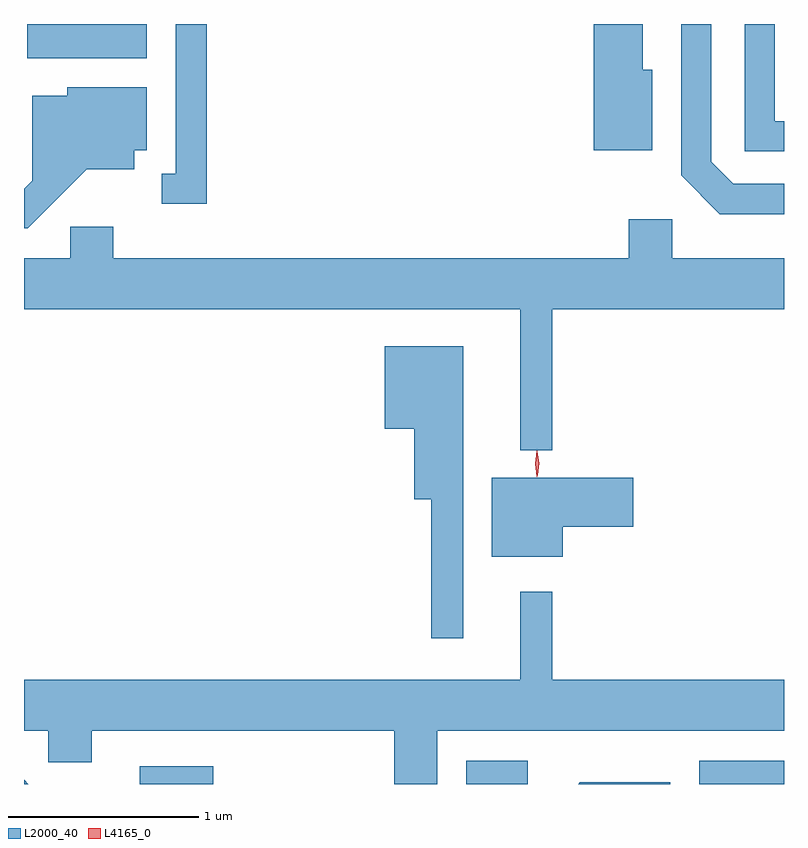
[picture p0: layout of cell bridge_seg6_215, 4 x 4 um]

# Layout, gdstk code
import gdstk
lib = gdstk.Library(unit=1e-6, precision=1e-09)
def R(c, l, rs):  # rectangles x0, y0, x1, y1
    for r in rs: c.add(gdstk.rectangle(r[:2], r[2:], *l))
def P(c, l, *ps):  # polygons
    for p in ps: c.add(gdstk.Polygon(p, *l))
L2000_40 = (2000, 40)
L4165_0 = (4165, 0)

bridge_seg6_215 = lib.new_cell('bridge_seg6_215')
R(bridge_seg6_215, L2000_40, [(1067.228,1543.096,1067.614,1543.189), (1068.946,1543.096,1069.268,1543.219), (1070.171,1543.096,1070.618,1543.219), (1066.636,1546.916,1067.264,1547.096)])
P(bridge_seg6_215, L2000_40, [(1069.924,1546.854),(1069.874,1546.854),(1069.874,1547.096),(1069.616,1547.096),(1069.616,1546.431),(1069.924,1546.431)],
  [(1070.618,1546.584),(1070.569,1546.584),(1070.569,1547.096),(1070.411,1547.096),(1070.411,1546.426),(1070.618,1546.426)],
  [(1067.579,1547.096),(1067.416,1547.096),(1067.416,1546.309),(1067.343,1546.309),(1067.343,1546.151),(1067.579,1546.151)],
  [(1070.618,1546.254),(1070.352,1546.254),(1070.234,1546.372),(1070.234,1547.096),(1070.076,1547.096),(1070.076,1546.299),(1070.279,1546.096),(1070.618,1546.096)],
  [(1066.947,1546.331),(1067.199,1546.331),(1067.199,1546.431),(1067.264,1546.431),(1067.264,1546.764),(1066.846,1546.764),(1066.846,1546.719),(1066.661,1546.719),(1066.661,1546.272),(1066.618,1546.229),(1066.618,1546.021),(1066.637,1546.021)],
  [(1069.399,1545.596),(1070.618,1545.596),(1070.618,1545.864),(1070.029,1545.864),(1070.029,1546.069),(1069.801,1546.069),(1069.801,1545.864),(1067.089,1545.864),(1067.089,1546.029),(1066.861,1546.029),(1066.861,1545.864),(1066.618,1545.864),(1066.618,1545.596),(1069.231,1545.596),(1069.231,1544.853),(1069.399,1544.853)],
  [(1068.929,1545.399),(1068.516,1545.399),(1068.516,1544.966),(1068.671,1544.966),(1068.671,1544.596),(1068.761,1544.596),(1068.761,1543.863),(1068.929,1543.863)],
  [(1069.454,1544.451),(1069.824,1544.451),(1069.824,1544.709),(1069.081,1544.709),(1069.081,1544.291),(1069.454,1544.291)],
  [(1068.794,1543.376),(1070.618,1543.376),(1070.618,1543.644),(1069.399,1543.644),(1069.399,1544.108),(1069.231,1544.108),(1069.231,1543.644),(1066.618,1543.644),(1066.618,1543.376),(1066.746,1543.376),(1066.746,1543.211),(1066.974,1543.211),(1066.974,1543.376),(1068.566,1543.376),(1068.566,1543.096),(1068.794,1543.096)],
  [(1066.618,1543.118),(1066.618,1543.096),(1066.64,1543.096)],
  [(1070.019,1543.104),(1069.544,1543.104),(1069.536,1543.096),(1070.019,1543.096)])
P(bridge_seg6_215, L4165_0, [(1069.32,1544.72),(1069.32,1544.72),(1069.31,1544.783),(1069.32,1544.846),(1069.32,1544.847),(1069.32,1544.846),(1069.33,1544.783),(1069.321,1544.72)],
  [(1069.317,1544.714),(1069.308,1544.782),(1069.317,1544.85),(1069.318,1544.85),(1069.318,1544.85),(1069.328,1544.782),(1069.318,1544.714),(1069.318,1544.714)])

lib.write_gds('bridge_seg6_215.gds')
